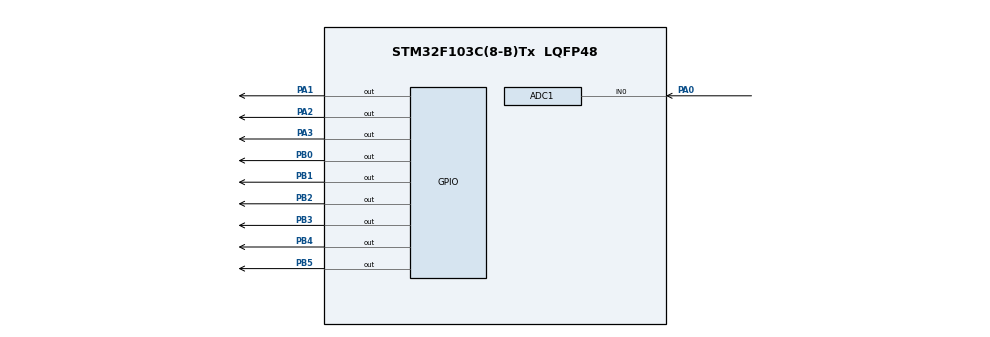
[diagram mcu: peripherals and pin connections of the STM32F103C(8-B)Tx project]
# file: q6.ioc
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ADC1.Channel-0\#ChannelRegularConversion=ADC_CHANNEL_0
ADC1.NbrOfConversionFlag=1
ADC1.Rank-0\#ChannelRegularConversion=1
ADC1.SamplingTime-0\#ChannelRegularConversion=ADC_SAMPLETIME_1CYCLE_5
ADC1.master=1
Mcu.Family=STM32F1
Mcu.Name=STM32F103C(8-B)Tx
Mcu.Package=LQFP48
NVIC.PriorityGroup=NVIC_PRIORITYGROUP_4
PA0-WKUP.Signal=ADCx_IN0
PA1.Signal=GPIO_Output
PA13.Mode=Serial_Wire
PA13.Signal=SYS_JTMS-SWDIO
PA14.Mode=Serial_Wire
PA14.Signal=SYS_JTCK-SWCLK
PA2.Signal=GPIO_Output
PA3.Signal=GPIO_Output
PB0.Signal=GPIO_Output
PB1.Signal=GPIO_Output
PB2.Signal=GPIO_Output
PB3.Signal=GPIO_Output
PB4.Signal=GPIO_Output
PB5.Signal=GPIO_Output
ProjectManager.HeapSize=0x200
ProjectManager.StackSize=0x400
ProjectManager.TargetToolchain=STM32CubeIDE
RCC.APB1Freq_Value=8000000
RCC.APB2Freq_Value=8000000
SH.ADCx_IN0.0=ADC1_IN0,IN0
board=custom

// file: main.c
/* USER CODE BEGIN Header */
/**
  ******************************************************************************
  * @file           : main.c
  * @brief          : Main program body
  ******************************************************************************
  * @attention
  *
  * Copyright (c) 2026 STMicroelectronics.
  * All rights reserved.
  *
  * This software is licensed under terms that can be found in the LICENSE file
  * in the root directory of this software component.
  * If no LICENSE file comes with this software, it is provided AS-IS.
  *
  ******************************************************************************
  */
/* USER CODE END Header */
#include "main.h"

/* USER CODE BEGIN Includes */
#include "lcd.h"
#include <stdio.h>
/* USER CODE END Includes */

ADC_HandleTypeDef hadc1;

/* USER CODE BEGIN PV */
uint16_t adc_value = 0;
float tank_level = 0.0;
char lcd_buffer[16];
uint32_t last_lcd_update = 0;

Lcd_HandleTypeDef hlcd;
/* USER CODE END PV */

void SystemClock_Config(void);
static void MX_GPIO_Init(void);
static void MX_ADC1_Init(void);

int main(void)
{

  /* MCU Configuration--------------------------------------------------------*/

  /* Reset of all peripherals, Initializes the Flash interface and the Systick. */
  HAL_Init();

  /* Configure the system clock */
  SystemClock_Config();

  /* Initialize all configured peripherals */
  MX_GPIO_Init();
  MX_ADC1_Init();
  /* USER CODE BEGIN 2 */
  Lcd_PortType ports[] = {GPIOB, GPIOB, GPIOB, GPIOB};
    Lcd_PinType pins[] = {GPIO_PIN_0, GPIO_PIN_1, GPIO_PIN_2, GPIO_PIN_3};
    hlcd = Lcd_create(ports, pins, GPIOB, GPIO_PIN_4, GPIOB, GPIO_PIN_5, LCD_4_BIT_MODE);

    // Calibrate ADC
    HAL_ADCEx_Calibration_Start(&hadc1);
    Lcd_clear(&hlcd);
  /* USER CODE END 2 */

  /* Infinite loop */
  /* USER CODE BEGIN WHILE */
    while (1)
      {
          HAL_ADC_Start(&hadc1);
          if (HAL_ADC_PollForConversion(&hadc1, 10) == HAL_OK) {
              adc_value = HAL_ADC_GetValue(&hadc1);
          }
          HAL_ADC_Stop(&hadc1);
          tank_level = ((float)adc_value / 4095.0f) * 100.0f;
          if (tank_level < 25.0f)
          {
              HAL_GPIO_WritePin(GPIOA, GPIO_PIN_1, GPIO_PIN_SET);   // Turn ON Pump (Motor)
              HAL_GPIO_WritePin(GPIOA, GPIO_PIN_2, GPIO_PIN_SET);   // Turn ON Red LED
              HAL_GPIO_WritePin(GPIOA, GPIO_PIN_3, GPIO_PIN_RESET); // Turn OFF Green LED
          }
          else
          {
              HAL_GPIO_WritePin(GPIOA, GPIO_PIN_1, GPIO_PIN_RESET); // Turn OFF Pump (Motor)
              HAL_GPIO_WritePin(GPIOA, GPIO_PIN_2, GPIO_PIN_RESET); // Turn OFF Red LED
              HAL_GPIO_WritePin(GPIOA, GPIO_PIN_3, GPIO_PIN_SET);   // Turn ON Green LED
          }

          if (HAL_GetTick() - last_lcd_update > 200)
          {
              last_lcd_update = HAL_GetTick();
              Lcd_cursor(&hlcd, 0, 0);
              sprintf(lcd_buffer, "Level: %5.1f %% ", tank_level);
              Lcd_string(&hlcd, lcd_buffer);
              Lcd_cursor(&hlcd, 1, 0);
              if (tank_level < 25.0f) {
                  Lcd_string(&hlcd, "Pump: ON        ");
              } else {
                  Lcd_string(&hlcd, "Pump: OFF       ");
              }
          }
    /* USER CODE END WHILE */

  }
}

void SystemClock_Config(void)
{
  RCC_OscInitTypeDef RCC_OscInitStruct = {0};
  RCC_ClkInitTypeDef RCC_ClkInitStruct = {0};
  RCC_PeriphCLKInitTypeDef PeriphClkInit = {0};

  /** Initializes the RCC Oscillators according to the specified parameters
  * in the RCC_OscInitTypeDef structure.
  */
  RCC_OscInitStruct.OscillatorType = RCC_OSCILLATORTYPE_HSI;
  RCC_OscInitStruct.HSIState = RCC_HSI_ON;
  RCC_OscInitStruct.HSICalibrationValue = RCC_HSICALIBRATION_DEFAULT;
  RCC_OscInitStruct.PLL.PLLState = RCC_PLL_NONE;
  if (HAL_RCC_OscConfig(&RCC_OscInitStruct) != HAL_OK)
  {
    Error_Handler();
  }

  /** Initializes the CPU, AHB and APB buses clocks
  */
  RCC_ClkInitStruct.ClockType = RCC_CLOCKTYPE_HCLK|RCC_CLOCKTYPE_SYSCLK
                              |RCC_CLOCKTYPE_PCLK1|RCC_CLOCKTYPE_PCLK2;
  RCC_ClkInitStruct.SYSCLKSource = RCC_SYSCLKSOURCE_HSI;
  RCC_ClkInitStruct.AHBCLKDivider = RCC_SYSCLK_DIV1;
  RCC_ClkInitStruct.APB1CLKDivider = RCC_HCLK_DIV1;
  RCC_ClkInitStruct.APB2CLKDivider = RCC_HCLK_DIV1;

  if (HAL_RCC_ClockConfig(&RCC_ClkInitStruct, FLASH_LATENCY_0) != HAL_OK)
  {
    Error_Handler();
  }
  PeriphClkInit.PeriphClockSelection = RCC_PERIPHCLK_ADC;
  PeriphClkInit.AdcClockSelection = RCC_ADCPCLK2_DIV2;
  if (HAL_RCCEx_PeriphCLKConfig(&PeriphClkInit) != HAL_OK)
  {
    Error_Handler();
  }
}

static void MX_ADC1_Init(void)
{

  ADC_ChannelConfTypeDef sConfig = {0};

  /** Common config
  */
  hadc1.Instance = ADC1;
  hadc1.Init.ScanConvMode = ADC_SCAN_DISABLE;
  hadc1.Init.ContinuousConvMode = DISABLE;
  hadc1.Init.DiscontinuousConvMode = DISABLE;
  hadc1.Init.ExternalTrigConv = ADC_SOFTWARE_START;
  hadc1.Init.DataAlign = ADC_DATAALIGN_RIGHT;
  hadc1.Init.NbrOfConversion = 1;
  if (HAL_ADC_Init(&hadc1) != HAL_OK)
  {
    Error_Handler();
  }

  /** Configure Regular Channel
  */
  sConfig.Channel = ADC_CHANNEL_0;
  sConfig.Rank = ADC_REGULAR_RANK_1;
  sConfig.SamplingTime = ADC_SAMPLETIME_1CYCLE_5;
  if (HAL_ADC_ConfigChannel(&hadc1, &sConfig) != HAL_OK)
  {
    Error_Handler();
  }

}

static void MX_GPIO_Init(void)
{
  GPIO_InitTypeDef GPIO_InitStruct = {0};

  /* GPIO Ports Clock Enable */
  __HAL_RCC_GPIOA_CLK_ENABLE();
  __HAL_RCC_GPIOB_CLK_ENABLE();

  /*Configure GPIO pin Output Level */
  HAL_GPIO_WritePin(GPIOA, GPIO_PIN_1|GPIO_PIN_2|GPIO_PIN_3, GPIO_PIN_RESET);

  /*Configure GPIO pin Output Level */
  HAL_GPIO_WritePin(GPIOB, GPIO_PIN_0|GPIO_PIN_1|GPIO_PIN_2|GPIO_PIN_3
                          |GPIO_PIN_4|GPIO_PIN_5, GPIO_PIN_RESET);

  /*Configure GPIO pins : PA1 PA2 PA3 */
  GPIO_InitStruct.Pin = GPIO_PIN_1|GPIO_PIN_2|GPIO_PIN_3;
  GPIO_InitStruct.Mode = GPIO_MODE_OUTPUT_PP;
  GPIO_InitStruct.Pull = GPIO_NOPULL;
  GPIO_InitStruct.Speed = GPIO_SPEED_FREQ_LOW;
  HAL_GPIO_Init(GPIOA, &GPIO_InitStruct);

  /*Configure GPIO pins : PB0 PB1 PB2 PB3
                           PB4 PB5 */
  GPIO_InitStruct.Pin = GPIO_PIN_0|GPIO_PIN_1|GPIO_PIN_2|GPIO_PIN_3
                          |GPIO_PIN_4|GPIO_PIN_5;
  GPIO_InitStruct.Mode = GPIO_MODE_OUTPUT_PP;
  GPIO_InitStruct.Pull = GPIO_NOPULL;
  GPIO_InitStruct.Speed = GPIO_SPEED_FREQ_LOW;
  HAL_GPIO_Init(GPIOB, &GPIO_InitStruct);

}

void Error_Handler(void)
{
  __disable_irq();
  while (1)
  {
  }
}
